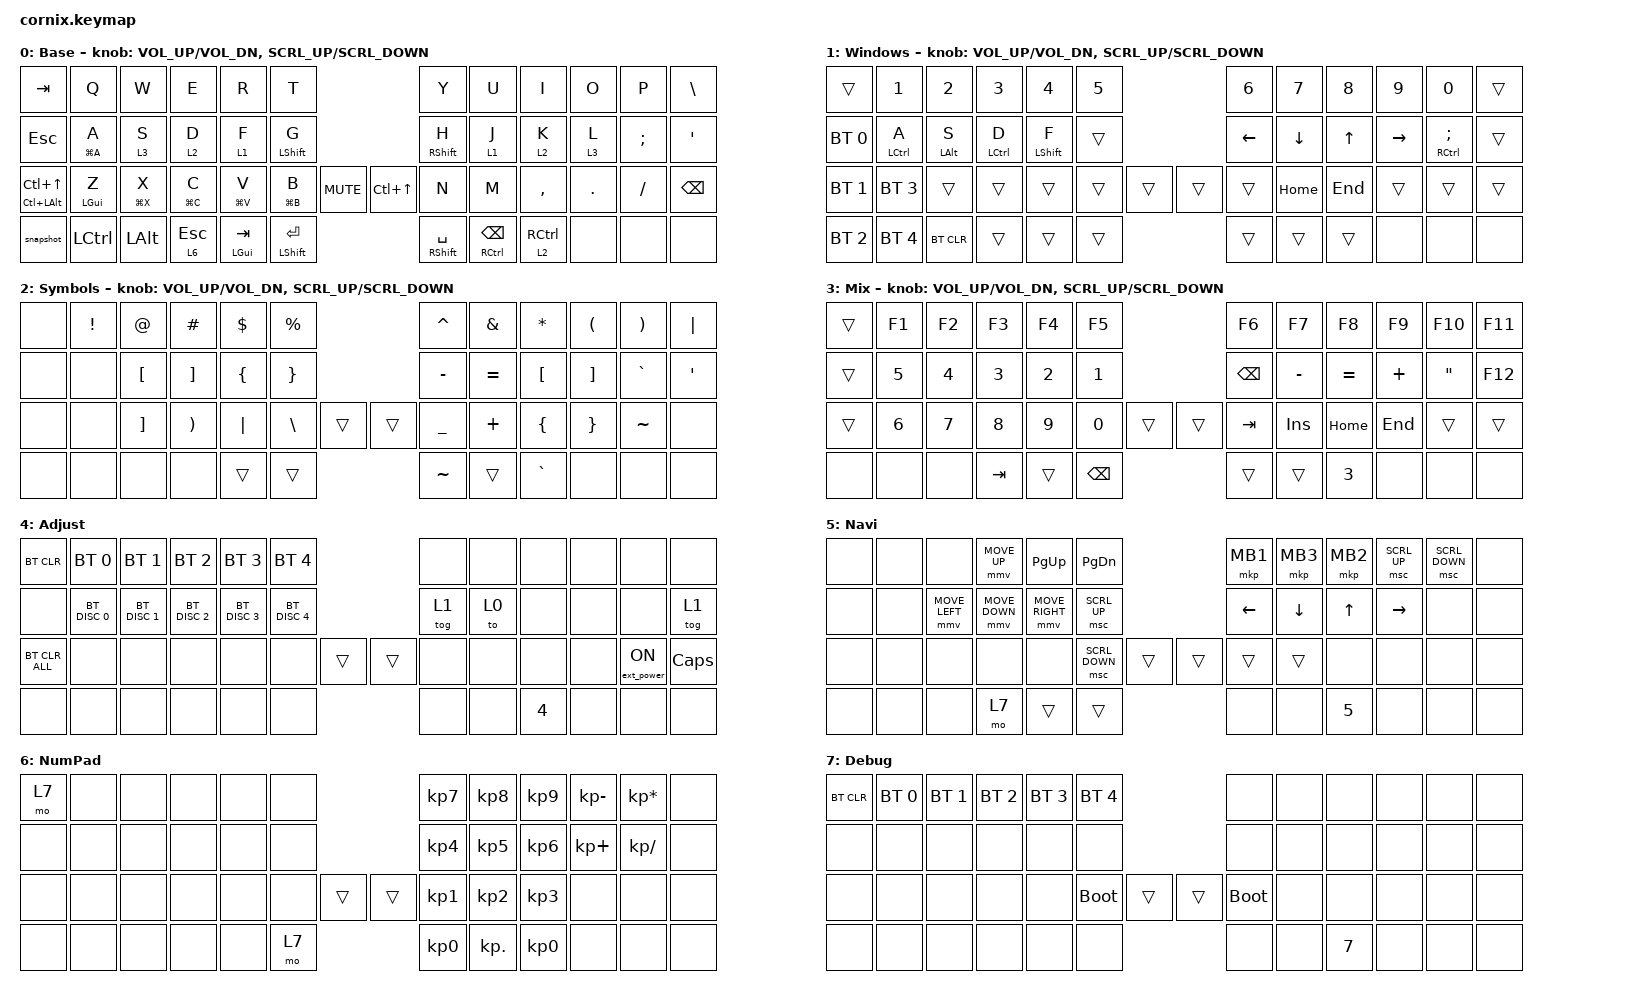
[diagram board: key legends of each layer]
/*
 * Copyright (c) 2020 The ZMK Contributors
 *
 * SPDX-License-Identifier: MIT
 */

#include "zmk-helpers/helper.h"
#include "includes/cornix54.h"

// tap windows for ctl alt and gui

#define HM_TAPPING_TERM 250
#define HM_TAPPING_REPEAT 210

// quick tapping for shift

#define HM_TAPPING_TERM_FAST 200
#define HM_PRIOR_IDLE 70
#define BASE 0
#define WIN 1
#define LOWER 2
#define RAISE 3
#define ADJUST 4
#define NAVI   5
#define NUM    6
#define DEBUG  7

// https://github.com/urob/zmk-config/tree/main#timeless-homerow-mods

#define KEYS_L LT0 LT1 LT2 LT3 LT4 LT5 LM0 LM1 LM2 LM3 LM4 LM5 LB0 LB1 LB2 LB3 LB4 LB5  // left hand
#define KEYS_R RT0 RT1 RT2 RT3 RT4 RT5 RM0 RM1 RM2 RM3 RM4 RM5 RB0 RB1 RB2 RB3 RB4 RB5  // right hand
#define THUMBS LH1 LH0 RH0 RH1
#define KEYS_T LH1 LH0 RH0 RH1
#define ZMK_POINTING_DEFAULT_SCRL_VAL 15

#include <behaviors.dtsi>
#include <dt-bindings/zmk/bt.h>
#include <dt-bindings/zmk/ext_power.h>
#include <dt-bindings/zmk/keys.h>
#include <dt-bindings/zmk/pointing.h>

/ {
    // Activate ADJUST layer by pressing raise and lower

    behaviors {
        hm_l: homerow_mods_left {
            compatible = "zmk,behavior-hold-tap";
            #binding-cells = <2>;
            bindings = <&kp>, <&kp>;

            flavor = "tap-preferred";
            tapping-term-ms = <280>;
            quick-tap-ms = <150>;                // repeat on tap-into-hold
            require-prior-idle-ms = <100>;
            hold-trigger-key-positions = <KEYS_R KEYS_T>;
            hold-trigger-on-release;
        };

        hm_r: homerow_mods_right {
            compatible = "zmk,behavior-hold-tap";
            #binding-cells = <2>;
            bindings = <&kp>, <&kp>;

            flavor = "tap-preferred";
            tapping-term-ms = <280>;
            quick-tap-ms = <150>;
            require-prior-idle-ms = <100>;
            hold-trigger-key-positions = <KEYS_L KEYS_T>;
            hold-trigger-on-release;
        };

        // Positional Homerow mods for shift
        // Use faster tapping term and disable some features that may
        // cause false negatives.

        hm_shift_l: hm_shift_l {
            compatible = "zmk,behavior-hold-tap";
            #binding-cells = <2>;
            bindings = <&kp>, <&kp>;

            //flavor = "balanced";

            flavor = "tap-preferred";
            tapping-term-ms = <280>;
            quick-tap-ms = <150>;
            require-prior-idle-ms = <100>;
            hold-trigger-key-positions = <KEYS_R KEYS_T>;
            hold-trigger-on-release;
        };

        hm_shift_r: hm_shift_r {
            compatible = "zmk,behavior-hold-tap";
            #binding-cells = <2>;
            bindings = <&kp>, <&kp>;

            flavor = "tap-preferred";
            tapping-term-ms = <280>;
            quick-tap-ms = <150>;
            require-prior-idle-ms = <100>;
            hold-trigger-key-positions = <KEYS_L KEYS_T>;

            // for quick tapping; shift+~

            hold-trigger-on-release;
        };

        /*
         * Non-Positional Homerow Mods
         * Used for &mm_grescm_gui behavior on left hand.
         *
         * Usage: &hm LSHFT T
         * Tap: T
         * Tap-Tap-Hold: Repeat T
         * Hold: LSHIFT
         */

        hm: homerow_mods {
            compatible = "zmk,behavior-hold-tap";
            #binding-cells = <2>;
            bindings = <&kp>, <&kp>;

            flavor = "balanced";
            tapping-term-ms = <HM_TAPPING_TERM>;
            quick-tap-ms = <200>;
        };

        lt: layer_tap {
            compatible = "zmk,behavior-hold-tap";
            #binding-cells = <2>;
            bindings = <&mo>, <&kp>;

            flavor = "tap-preferred";
            tapping-term-ms = <280>;
            quick-tap-ms = <150>;
            require-prior-idle-ms = <100>;
        };

        snapshot: snapshot {
            compatible = "zmk,behavior-tap-dance";
            label = "SNAPSHOT";
            #binding-cells = <0>;
            bindings = <&kp LSHFT>, <&kp LS(LG(NUMBER_4))>;
        };

        hm_hold_prefer: hm_hold_prefer {
            compatible = "zmk,behavior-hold-tap";
            label = "HM_HOLD_PREFER";
            bindings = <&kp>, <&kp>;

            #binding-cells = <2>;
            tapping-term-ms = <280>;
            quick-tap-ms = <150>;
            require-prior-idle-ms = <100>;
            hold-while-undecided;
            hold-while-undecided-linger;
            retro-tap;
        };

        hm_holdprefer_nolinger: hm_holdprefer_nolinger {
            compatible = "zmk,behavior-hold-tap";
            label = "HM_HOLDPREFER_NOLINGER";
            bindings = <&kp>, <&kp>;

            #binding-cells = <2>;
            tapping-term-ms = <280>;
            quick-tap-ms = <150>;
            require-prior-idle-ms = <100>;
            hold-while-undecided;
            retro-tap;
        };

        inc_dec_msc: inc_dec_msc {
            compatible = "zmk,behavior-sensor-rotate-mouse-scroll";
            #sensor-binding-cells = <2>;
            bindings = <&msc>, <&msc>;
        };
    };

    conditional_layers {
        compatible = "zmk,conditional-layers";

        adjust_layer {
            if-layers = <3 2>;
            then-layer = <4>;
        };
    };

    combos {
        compatible = "zmk,combos";

        cb_ltm {
            bindings = <&kp ESC>;
            key-positions = <2 4>;
            layers = <0 1>;
        };

        cb_lm {
            bindings = <&kp TAB>;
            key-positions = <14 16>;
            layers = <0 1>;
        };

        cb_enter {
            bindings = <&kp RET>;
            key-positions = <21 19>;
            layers = <0 1>;
        };

        layer3 {
            bindings = <&kp N3>;
            key-positions = <5 6>;
        };

        layer4 {
            bindings = <&kp N4>;
            key-positions = <5 6>;
        };
    };

    macros {
        snapshnot: snapshnot {
            compatible = "zmk,behavior-macro";
            #binding-cells = <0>;
            bindings = <&kp LS(LG(NUMBER_4))>;
            label = "SNAPSHNOT";
        };
    };

    keymap {
        compatible = "zmk,keymap";

        default_layer {
            display-name = "Base";

            // ------------------------------------------------------------------------------------------------------------
            // |   `   |  1  |  2  |  3   |  4   |  5   |                   |  6   |  7    |  8    |  9   |   0   |       |
            // |  ESC  |  Q  |  W  |  E   |  R   |  T   |                   |  Y   |  U    |  I    |  O   |   P   | BKSPC |
            // |  TAB  |  A  |  S  |  D   |  F   |  G   |                   |  H   |  J    |  K    |  L   |   ;   |   '   |
            // | SHIFT |  Z  |  X  |  C   |  V   |  B   |  MUTE  |  |       |  N   |  M    |  ,    |  .   |   /   | SHIFT |
            //               | GUI | ALT  | CTRL | LOWER|  ENTER |  | SPACE | RAISE| CTRL  | ALT   | GUI  |

            bindings = <
&kp TAB                          &kp Q          &kp W                &kp E                &kp R                &kp T                                                       &kp Y                          &kp U                &kp I                &kp O    &kp P          &kp BSLH
&kp ESC                          &hm_l LG(A) A  &lt 3 S              &lt 2 D              &lt 1 F              &hm_shift_l LEFT_SHIFT G                                    &hm_shift_r RIGHT_SHIFT H      &lt 1 J              &lt 2 K              &lt 3 L  &kp SEMICOLON  &kp SINGLE_QUOTE
&hm_l LC(LEFT_ALT) LC(UP_ARROW)  &hm_l LGUI Z   &hm_shift_l LG(X) X  &hm_shift_l LG(C) C  &hm_shift_l LG(V) V  &hm_shift_l LG(B) B           &kp K_MUTE  &kp LC(UP_ARROW)  &kp N                          &kp M                &kp COMMA            &kp DOT  &kp FSLH       &kp BACKSPACE
&snapshot                        &kp LCTRL      &kp LEFT_ALT         &lt 6 ESCAPE         &hm LEFT_GUI TAB     &hm_shift_l LEFT_SHIFT ENTER                                &hm_shift_r RIGHT_SHIFT SPACE  &hm RCTRL BACKSPACE  &lt 2 RIGHT_CONTROL  &none    &none          &none
            >;

            sensor-bindings = <&inc_dec_kp C_VOL_UP C_VOL_DN &inc_dec_msc SCRL_UP SCRL_DOWN>;
        };

        win_layer {
            display-name = "Windows";

            // ------------------------------------------------------------------------------------------------------------
            // |   `   |  1  |  2  |  3   |  4   |  5   |                   |  6   |  7    |  8    |  9   |   0   |       |
            // |  ESC  |  Q  |  W  |  E   |  R   |  T   |                   |  Y   |  U    |  I    |  O   |   P   | BKSPC |
            // |  TAB  |  A  |  S  |  D   |  F   |  G   |                   |  H   |  J    |  K    |  L   |   ;   |   '   |
            // | SHIFT |  Z  |  X  |  C   |  V   |  B   |  MUTE  |  |       |  N   |  M    |  ,    |  .   |   /   | SHIFT |
            //               | GUI | ALT  | CTRL | LOWER|  ENTER |  | SPACE | RAISE| CTRL  | ALT   | GUI  |

            bindings = <
&trans        &kp NUMBER_1   &kp NUMBER_2  &kp NUMBER_3   &kp NUMBER_4         &kp NUMBER_5                  &kp NUMBER_6  &kp NUMBER_7  &kp N8        &kp N9     &kp NUMBER_0      &trans
&bt BT_SEL 0  &hm_l LCTRL A  &hm_l LALT S  &hm_l LCTRL D  &hm_shift_l LSHFT F  &trans                        &kp LEFT      &kp DOWN      &kp UP_ARROW  &kp RIGHT  &hm_r RCTRL SEMI  &trans
&bt BT_SEL 1  &bt BT_SEL 3   &trans        &trans         &trans               &trans        &trans  &trans  &trans        &kp HOME      &kp END       &trans     &trans            &trans
&bt BT_SEL 2  &bt BT_SEL 4   &bt BT_CLR    &trans         &trans               &trans                        &trans        &trans        &trans        &none      &none             &none
            >;

            sensor-bindings = <&inc_dec_kp C_VOL_UP C_VOL_DN &inc_dec_msc SCRL_UP SCRL_DOWN>;
        };

        Symbol_layer {
            display-name = "Symbols";

            // TODO: Some binds are waiting for shifted keycode support.
            // -------------------------------
            // |       |  F1 |  F2 |  F3  |  F4  |  F5  |                   |  F6  |  F7   |  F8   |  F9  |  F10  |  F11  |
            // |   `   |  1  |  2  |  3   |  4   |  5   |                   |  6   |  7    |  8    |  9   |   0   |  F12  |
            // |       |  !  |  @  |  #   |  $   |  %   |                   |  ^   |  &    |  *    |  (   |   )   |   |   |
            // |       |  =  |  -  |  +   |  {   |  }   |        |  |       |  [   |  ]    |  ;    |  :   |   \   |       |
            //               |     |      |      |      |        |  |       |      |       |       |      |

            bindings = <
&none  &kp EXCL  &kp AT    &kp HASH  &kp DLLR  &kp PRCNT                  &kp CARET  &kp AMPS   &kp ASTRK         &kp LPAR           &kp RPAR   &kp PIPE
&none  &none     &kp LBKT  &kp RBKT  &kp LBRC  &kp RBRC                   &kp MINUS  &kp EQUAL  &kp LEFT_BRACKET  &kp RIGHT_BRACKET  &kp GRAVE  &kp SQT
&none  &none     &kp RBKT  &kp RPAR  &kp PIPE  &kp BSLH   &trans  &trans  &kp UNDER  &kp PLUS   &kp LEFT_BRACE    &kp RIGHT_BRACE    &kp TILDE  &none
&none  &none     &none     &none     &trans    &trans                     &kp TILDE  &trans     &kp GRAVE         &none              &none      &none
            >;

            sensor-bindings = <&inc_dec_kp C_VOL_UP C_VOL_DN &inc_dec_msc SCRL_UP SCRL_DOWN>;
        };

        Mix_layer {
            display-name = "Mix";

            // ------------------------------------------------------------------------------------------------------------
            // | BTCLR | BT1  | BT2  |  BT3  |  BT4  |  BT5 |                |      |      |       |      |       |       |
            // |       | INS  | PSCR | GUI   |       |      |                | PGUP |      |   ^   |      |       |       |
            // |       | ALT  | CTRL | SHIFT |       | CAPS |                | PGDN |   <- |   v   |  ->  |  DEL  | BKSPC |
            // |       | UNDO | CUT  | COPY  | PASTE |      |      |  |      |      |      |       |      |       |       |
            //                |      |       |       |      |      |  |      |      |      |       |      |

            bindings = <
&trans  &kp F1  &kp F2  &kp F3   &kp F4  &kp F5                         &kp F6    &kp F7     &kp F8     &kp F9    &kp F10  &kp F11
&trans  &kp N5  &kp N4  &kp N3   &kp N2  &kp N1                         &kp BSPC  &kp MINUS  &kp EQUAL  &kp PLUS  &kp DQT  &kp F12
&trans  &kp N6  &kp N7  &kp N8   &kp N9  &kp N0         &trans  &trans  &kp TAB   &kp INS    &kp HOME   &kp END   &trans   &trans
&none   &none   &none   &kp TAB  &trans  &kp BACKSPACE                  &trans    &trans     &kp N3     &none     &none    &none
            >;

            sensor-bindings = <&inc_dec_kp C_VOL_UP C_VOL_DN &inc_dec_msc SCRL_UP SCRL_DOWN>;
        };

        Adjust_layer {
            display-name = "Adjust";

            // ----------------------------------------------------------------------------------------------------------------------------
            // | BTCLR  |  BT1    |  BT2    |   BT3   |   BT4   |   BT5   |                  |      |      |       |      |       |       |
            // | moDEBUG| RGB_HUD | RGB_HUI | RGB_SAD | RGB_SAI | RGB_EFF |                  |      |      |       |      |       |       |
            // | EXTPWR | RGB_BRD | RGB_BRI |         |         |         |                  |      |      |       |      |       |       |
            // |        |         |         |         |         |         | RGB_TOG | |      |      |      |       |      |       |       |
            //                    |         |         |         |         |         | |      |      |      |       |      |

            bindings = <
&bt BT_CLR      &bt BT_SEL 0   &bt BT_SEL 1   &bt BT_SEL 2   &bt BT_SEL 3   &bt BT_SEL 4                   &none   &none  &none   &none  &none             &none
&none           &bt BT_DISC 0  &bt BT_DISC 1  &bt BT_DISC 2  &bt BT_DISC 3  &bt BT_DISC 4                  &tog 1  &to 0  &none   &none  &none             &tog 1
&bt BT_CLR_ALL  &none          &none          &none          &none          &none          &trans  &trans  &none   &none  &none   &none  &ext_power EP_ON  &kp CAPSLOCK
&none           &none          &none          &none          &none          &none                          &none   &none  &kp N4  &none  &none             &none
            >;
        };

        Navi_layer {
            display-name = "Navi";
            bindings = <
&none  &none  &none           &mmv MOVE_UP    &kp PAGE_UP      &kp PAGE_DOWN                   &mkp MB1  &mkp MB3  &mkp MB2  &msc SCRL_UP  &msc SCRL_DOWN  &none
&none  &none  &mmv MOVE_LEFT  &mmv MOVE_DOWN  &mmv MOVE_RIGHT  &msc SCRL_UP                    &kp LEFT  &kp DOWN  &kp UP    &kp RIGHT     &none           &none
&none  &none  &none           &none           &none            &msc SCRL_DOWN  &trans  &trans  &trans    &trans    &none     &none         &none           &none
&none  &none  &none           &mo 7           &trans           &trans                          &none     &none     &kp N5    &none         &none           &none
            >;
        };

        KeyPad_layer {
            display-name = "NumPad";
            bindings = <
&mo 7  &none  &none  &none  &none  &none                  &kp KP_N7        &kp KP_N8        &kp KP_N9        &kp KP_MINUS  &kp KP_MULTIPLY  &none
&none  &none  &none  &none  &none  &none                  &kp KP_NUMBER_4  &kp KP_NUMBER_5  &kp KP_N6        &kp KP_PLUS   &kp KP_DIVIDE    &none
&none  &none  &none  &none  &none  &none  &trans  &trans  &kp KP_NUMBER_1  &kp KP_NUMBER_2  &kp KP_N3        &none         &none            &none
&none  &none  &none  &none  &none  &mo 7                  &kp KP_N0        &kp KP_DOT       &kp KP_NUMBER_0  &none         &none            &none
            >;
        };

        Debug_layer {
            display-name = "Debug";

            // ----------------------------------------------------------------------------------------------------------------------------
            // | BTCLR  |  BT1    |  BT2    |   BT3   |   BT4   |   BT5   |                  |      |      |       |      |       |       |
            // | EXTPWR | BTCLR | RGB_HUI | RGB_SAD | RGB_SAI | RGB_EFF |                  |      |      |       |      |       |       |
            // |        | RGB_BRD | RGB_BRI |         |         |         |                  |      |      |       |      |       |       |
            // |        |         |         |         |         |         | RGB_TOG | |      |      |      |       |      |       |       |
            //                    |         |         |         |         |         | |      |      |      |       |      |

            bindings = <
&bt BT_CLR  &bt BT_SEL 0  &bt BT_SEL 1  &bt BT_SEL 2  &bt BT_SEL 3  &bt BT_SEL 4                  &none        &none  &none   &none  &none  &none
&none       &none         &none         &none         &none         &none                         &none        &none  &none   &none  &none  &none
&none       &none         &none         &none         &none         &bootloader   &trans  &trans  &bootloader  &none  &none   &none  &none  &none
&none       &none         &none         &none         &none         &none                         &none        &none  &kp N7  &none  &none  &none
            >;
        };
    };
};
